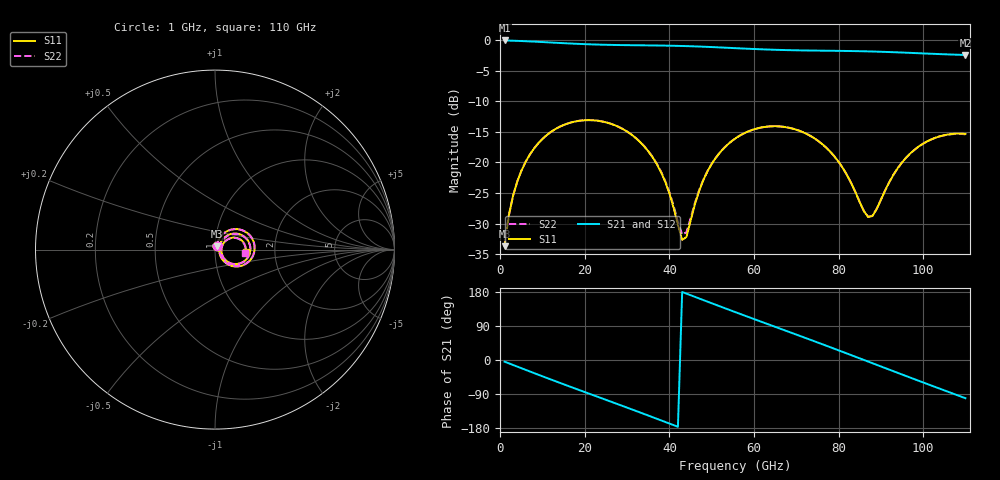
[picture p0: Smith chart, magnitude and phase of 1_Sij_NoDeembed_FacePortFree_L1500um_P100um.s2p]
! Touchstone file exported from HFSS 2024.2.0
!  File:  C:/Users/vaintrug/Documents/Ansoft_Workspace/Comparaison_Calculs_HFSS/1_VarPort.aedt
!  Generated:  03:22:16 PM Jan 21, 2025
!  Design:  1_NoDeembed_FacePortFree
!  Project:  1_VarPort
!  Setup:  Setup1
!  Solution:  Sweep
! Variables:
!  $Lenght = 1500um
!  $PortSize = 100um
!  Gap = 30um
!  Th = 2um
!  X_centralStrip = 20um
!  X_masse = 200um
!  Y_Sub = 1.5mm
!  Z_Box = 400um
!  Z_Sub = 200um
# GHz S MA R 50.000000
! Terminal data exported
! Port[1] = 1
! Port[2] = 2
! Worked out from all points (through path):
!   110 points, 1 GHz to 110 GHz, reference 50 ohm
!   highest |S21| = -0.10 dB at 1 GHz (marker M1); lowest = -2.5 dB at 110 GHz (marker M2)
!   group delay of S21, straight-line fit = 11.6 ps
!   lowest |S11| = -33.7 dB at 1 GHz (marker M3), VSWR 1.04, Z = 50.9 + j1.87 ohm
!   |S11| at or under -10 dB: start of sweep to end of sweep
!   |S22| runs from -33.7 to -13.1 dB; largest |S21 - S12| = 2.4e-15
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1  0.02071 62.4  0.989 -4.4  0.989 -4.4  0.02071 62.4
! Gamma 5.69259637666644 49.9499055283195 5.64003840971553 49.8962251460151
! Port Impedance 50 0 50 0
3  0.05348 69.8  0.984 -13.1  0.984 -13.1  0.05348 69.8
7  0.1164 58.3  0.9714 -30.4  0.9714 -30.4  0.1164 58.4
14  0.1951 31.1  0.9435 -60.0  0.9435 -60.0  0.1952 31.3
20  0.2209 7.8  0.9228 -84.8  0.9228 -84.8  0.2211 8.0
29  0.1868 -25.9  0.9063 -121.7  0.9063 -121.7  0.1871 -25.5
34  0.1355 -42.9  0.9022 -142.4  0.9022 -142.4  0.1361 -42.2
38  0.08324 -52.7  0.8987 -159.3  0.8987 -159.3  0.08413 -51.3
43  0.02329 -12.2  0.8913 179.5  0.8913 179.5  0.02579 -11.6
44  0.02457 20.5  0.8893 175.2  0.8893 175.2  0.02682 17.7
47  0.05837 52.7  0.8821 162.5  0.8821 162.5  0.05915 50.2
49  0.08459 52.1  0.8766 154.0  0.8766 154.0  0.08504 50.3
56  0.1604 32.5  0.8544 124.6  0.8544 124.6  0.1605 31.5
65  0.1973 1.3  0.83 87.6  0.83 87.6  0.1973 0.6
74  0.1595 -28.6  0.8179 50.6  0.8179 50.6  0.1594 -29.2
80  0.1012 -43.5  0.8134 25.5  0.8134 25.5  0.1012 -44.0
87  0.03584 -8.5  0.8052 -4.2  0.8052 -4.2  0.03605 -9.1
89  0.0415 22.8  0.8017 -12.7  0.8017 -12.7  0.04168 21.9
92  0.06907 39.3  0.7954 -25.5  0.7954 -25.5  0.06913 38.4
96  0.1095 36.4  0.7856 -42.4  0.7856 -42.4  0.1094 35.5
101  0.1488 23.5  0.7726 -63.4  0.7726 -63.4  0.1485 22.5
110  0.1707 -4.4  0.7531 -100.8  0.7531 -100.8  0.1696 -5.9
